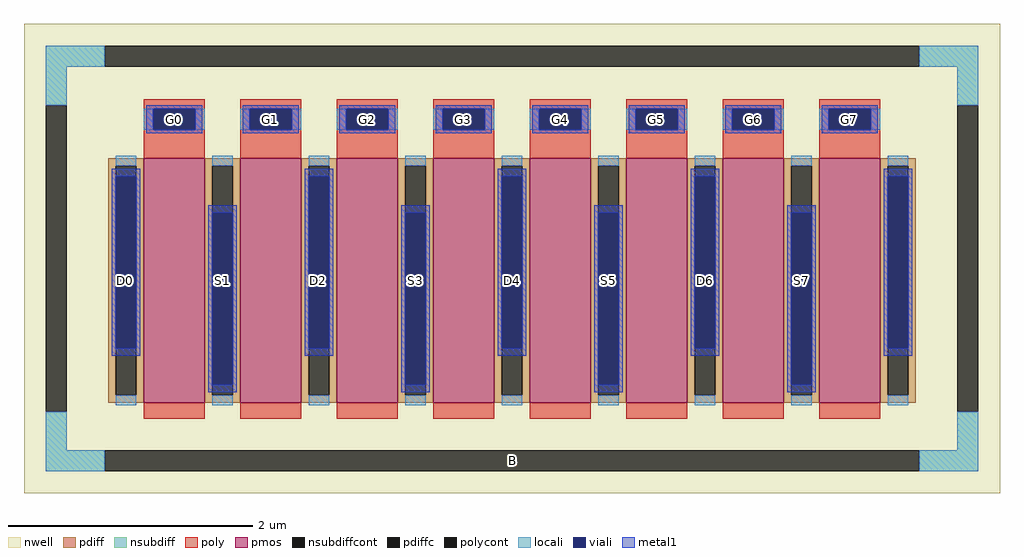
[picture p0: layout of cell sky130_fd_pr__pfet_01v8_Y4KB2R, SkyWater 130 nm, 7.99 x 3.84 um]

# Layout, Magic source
magic
tech sky130A
magscale 1 2
<< nwell >>
rect -799 -384 799 384
<< pmos >>
rect -603 -236 -503 164
rect -445 -236 -345 164
rect -287 -236 -187 164
rect -129 -236 -29 164
rect 29 -236 129 164
rect 187 -236 287 164
rect 345 -236 445 164
rect 503 -236 603 164
<< pdiff >>
rect -661 152 -603 164
rect -661 -224 -649 152
rect -615 -224 -603 152
rect -661 -236 -603 -224
rect -503 152 -445 164
rect -503 -224 -491 152
rect -457 -224 -445 152
rect -503 -236 -445 -224
rect -345 152 -287 164
rect -345 -224 -333 152
rect -299 -224 -287 152
rect -345 -236 -287 -224
rect -187 152 -129 164
rect -187 -224 -175 152
rect -141 -224 -129 152
rect -187 -236 -129 -224
rect -29 152 29 164
rect -29 -224 -17 152
rect 17 -224 29 152
rect -29 -236 29 -224
rect 129 152 187 164
rect 129 -224 141 152
rect 175 -224 187 152
rect 129 -236 187 -224
rect 287 152 345 164
rect 287 -224 299 152
rect 333 -224 345 152
rect 287 -236 345 -224
rect 445 152 503 164
rect 445 -224 457 152
rect 491 -224 503 152
rect 445 -236 503 -224
rect 603 152 661 164
rect 603 -224 615 152
rect 649 -224 661 152
rect 603 -236 661 -224
<< pdiffc >>
rect -649 -224 -615 152
rect -491 -224 -457 152
rect -333 -224 -299 152
rect -175 -224 -141 152
rect -17 -224 17 152
rect 141 -224 175 152
rect 299 -224 333 152
rect 457 -224 491 152
rect 615 -224 649 152
<< nsubdiff >>
rect -763 314 -667 348
rect 667 314 763 348
rect -763 251 -729 314
rect 729 251 763 314
rect -763 -314 -729 -251
rect 729 -314 763 -251
rect -763 -348 -667 -314
rect 667 -348 763 -314
<< nsubdiffcont >>
rect -667 314 667 348
rect -763 -251 -729 251
rect 729 -251 763 251
rect -667 -348 667 -314
<< poly >>
rect -603 245 -503 261
rect -603 211 -587 245
rect -519 211 -503 245
rect -603 164 -503 211
rect -445 245 -345 261
rect -445 211 -429 245
rect -361 211 -345 245
rect -445 164 -345 211
rect -287 245 -187 261
rect -287 211 -271 245
rect -203 211 -187 245
rect -287 164 -187 211
rect -129 245 -29 261
rect -129 211 -113 245
rect -45 211 -29 245
rect -129 164 -29 211
rect 29 245 129 261
rect 29 211 45 245
rect 113 211 129 245
rect 29 164 129 211
rect 187 245 287 261
rect 187 211 203 245
rect 271 211 287 245
rect 187 164 287 211
rect 345 245 445 261
rect 345 211 361 245
rect 429 211 445 245
rect 345 164 445 211
rect 503 245 603 261
rect 503 211 519 245
rect 587 211 603 245
rect 503 164 603 211
rect -603 -262 -503 -236
rect -445 -262 -345 -236
rect -287 -262 -187 -236
rect -129 -262 -29 -236
rect 29 -262 129 -236
rect 187 -262 287 -236
rect 345 -262 445 -236
rect 503 -262 603 -236
<< polycont >>
rect -587 211 -519 245
rect -429 211 -361 245
rect -271 211 -203 245
rect -113 211 -45 245
rect 45 211 113 245
rect 203 211 271 245
rect 361 211 429 245
rect 519 211 587 245
<< locali >>
rect -763 314 -667 348
rect 667 314 763 348
rect -763 251 -729 314
rect 729 251 763 314
rect -603 211 -587 245
rect -519 211 -503 245
rect -445 211 -429 245
rect -361 211 -345 245
rect -287 211 -271 245
rect -203 211 -187 245
rect -129 211 -113 245
rect -45 211 -29 245
rect 29 211 45 245
rect 113 211 129 245
rect 187 211 203 245
rect 271 211 287 245
rect 345 211 361 245
rect 429 211 445 245
rect 503 211 519 245
rect 587 211 603 245
rect -649 152 -615 168
rect -649 -240 -615 -224
rect -491 152 -457 168
rect -491 -240 -457 -224
rect -333 152 -299 168
rect -333 -240 -299 -224
rect -175 152 -141 168
rect -175 -240 -141 -224
rect -17 152 17 168
rect -17 -240 17 -224
rect 141 152 175 168
rect 141 -240 175 -224
rect 299 152 333 168
rect 299 -240 333 -224
rect 457 152 491 168
rect 457 -240 491 -224
rect 615 152 649 168
rect 615 -240 649 -224
rect -763 -314 -729 -251
rect 729 -314 763 -251
rect -763 -348 -667 -314
rect 667 -348 763 -314
<< viali >>
rect -587 211 -519 245
rect -429 211 -361 245
rect -271 211 -203 245
rect -113 211 -45 245
rect 45 211 113 245
rect 203 211 271 245
rect 361 211 429 245
rect 519 211 587 245
rect -649 -147 -615 135
rect -491 -207 -457 75
rect -333 -147 -299 135
rect -175 -207 -141 75
rect -17 -147 17 135
rect 141 -207 175 75
rect 299 -147 333 135
rect 457 -207 491 75
rect 615 -147 649 135
<< metal1 >>
rect -599 245 -507 251
rect -599 211 -587 245
rect -519 211 -507 245
rect -599 205 -507 211
rect -441 245 -349 251
rect -441 211 -429 245
rect -361 211 -349 245
rect -441 205 -349 211
rect -283 245 -191 251
rect -283 211 -271 245
rect -203 211 -191 245
rect -283 205 -191 211
rect -125 245 -33 251
rect -125 211 -113 245
rect -45 211 -33 245
rect -125 205 -33 211
rect 33 245 125 251
rect 33 211 45 245
rect 113 211 125 245
rect 33 205 125 211
rect 191 245 283 251
rect 191 211 203 245
rect 271 211 283 245
rect 191 205 283 211
rect 349 245 441 251
rect 349 211 361 245
rect 429 211 441 245
rect 349 205 441 211
rect 507 245 599 251
rect 507 211 519 245
rect 587 211 599 245
rect 507 205 599 211
rect -655 135 -609 147
rect -655 -147 -649 135
rect -615 -147 -609 135
rect -339 135 -293 147
rect -655 -159 -609 -147
rect -497 75 -451 87
rect -497 -207 -491 75
rect -457 -207 -451 75
rect -339 -147 -333 135
rect -299 -147 -293 135
rect -23 135 23 147
rect -339 -159 -293 -147
rect -181 75 -135 87
rect -497 -219 -451 -207
rect -181 -207 -175 75
rect -141 -207 -135 75
rect -23 -147 -17 135
rect 17 -147 23 135
rect 293 135 339 147
rect -23 -159 23 -147
rect 135 75 181 87
rect -181 -219 -135 -207
rect 135 -207 141 75
rect 175 -207 181 75
rect 293 -147 299 135
rect 333 -147 339 135
rect 609 135 655 147
rect 293 -159 339 -147
rect 451 75 497 87
rect 135 -219 181 -207
rect 451 -207 457 75
rect 491 -207 497 75
rect 609 -147 615 135
rect 649 -147 655 135
rect 609 -159 655 -147
rect 451 -219 497 -207
<< labels >>
rlabel nsubdiffcont 0 -331 0 -331 0 B
port 1 nsew
rlabel pdiffc -632 -36 -632 -36 0 D0
port 2 nsew
rlabel polycont -553 228 -553 228 0 G0
port 3 nsew
rlabel pdiffc -474 -36 -474 -36 0 S1
port 4 nsew
rlabel polycont -395 228 -395 228 0 G1
port 5 nsew
rlabel pdiffc -316 -36 -316 -36 0 D2
port 6 nsew
rlabel polycont -237 228 -237 228 0 G2
port 7 nsew
rlabel pdiffc -158 -36 -158 -36 0 S3
port 8 nsew
rlabel polycont -79 228 -79 228 0 G3
port 9 nsew
rlabel pdiffc 0 -36 0 -36 0 D4
port 10 nsew
rlabel polycont 79 228 79 228 0 G4
port 11 nsew
rlabel pdiffc 158 -36 158 -36 0 S5
port 12 nsew
rlabel polycont 237 228 237 228 0 G5
port 13 nsew
rlabel pdiffc 316 -36 316 -36 0 D6
port 14 nsew
rlabel polycont 395 228 395 228 0 G6
port 15 nsew
rlabel pdiffc 474 -36 474 -36 0 S7
port 16 nsew
rlabel polycont 553 228 553 228 0 G7
port 17 nsew
<< properties >>
string FIXED_BBOX -746 -331 746 331
string gencell sky130_fd_pr__pfet_01v8
string library sky130
string parameters w 2.0 l 0.5 m 1 nf 8 diffcov 100 polycov 100 guard 1 glc 1 grc 1 gtc 1 gbc 1 tbcov 100 rlcov 100 topc 1 botc 0 poverlap 0 doverlap 1 lmin 0.15 wmin 0.42 class mosfet compatible {sky130_fd_pr__pfet_01v8  sky130_fd_pr__pfet_01v8_lvt sky130_fd_pr__pfet_01v8_hvt  sky130_fd_pr__pfet_g5v0d10v5} full_metal 1 conn_gates 0 viasrc +75 viadrn -75 viagate 100 viagb 0 viagr 0 viagl 0 viagt 0 doports 1
<< end >>
